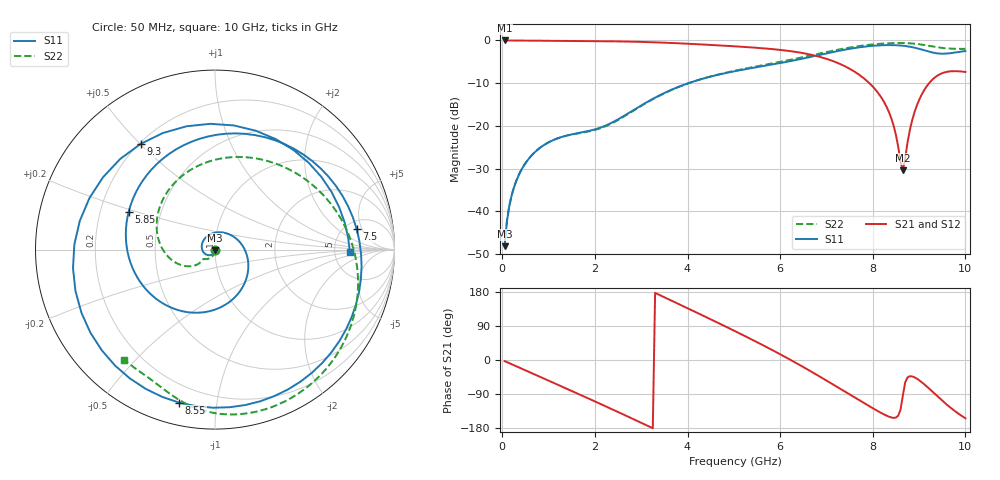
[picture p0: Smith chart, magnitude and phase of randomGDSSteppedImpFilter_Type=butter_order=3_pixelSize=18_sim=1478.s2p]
! freq	dB(S11)	phase(S11)	dB(S12)	phase(S12)
!  dB(S21)	phase(S21)	dB(S22)	phase(S22)
!S-par simulation data
#  GHz  S  DB  R 50
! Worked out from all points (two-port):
!   200 points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, 50 MHz to 10 GHz, reference 50 ohm
!   highest |S21| = -0.01 dB at 50 MHz (marker M1); lowest = -30.3 dB at 8.65 GHz (marker M2)
!   |S21| within 3 dB of the highest: start of sweep to 6.513 GHz
!   lowest |S11| = -48.1 dB at 50 MHz (marker M3), VSWR 1.01, Z = 50 - j0.392 ohm
!   |S11| at or under -10 dB: start of sweep to 4.019 GHz
!   |S22| runs from -48.1 to -0.6 dB; largest |S21 - S12| = 0
!   S11 on the Smith chart (normalised r, x): 50 MHz: 1.00, -0.01; 5.85 GHz: 0.32, +0.19; 7.5 GHz: 6.36, +3.97; 8.55 GHz: 0.11, -0.79; 9.3 GHz: 0.21, +0.50; 10 GHz: 7.01, -0.48
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0.05  -48.13 -87.4  -0.01 -2.8  -0.01 -2.8  -48.12 -85.7
0.2  -36.36 -102.8  -0.02 -11.0  -0.02 -11.0  -36.30 -96.5
0.5  -28.74 -125.6  -0.04 -27.3  -0.04 -27.3  -28.69 -109.3
1.15  -23.08 -176.3  -0.09 -62.6  -0.09 -62.6  -23.09 -131.2
1.75  -21.44 127.2  -0.14 -95.5  -0.14 -95.5  -21.53 -140.6
2.65  -17.51 27.3  -0.26 -145.7  -0.26 -145.7  -17.66 -140.3
3.4  -12.82 -37.9  -0.48 171.4  -0.48 171.4  -12.90 -160.5
4.3  -9.04 -99.5  -0.93 119.1  -0.93 119.1  -9.03 156.9
5.05  -7.14 -147.6  -1.40 74.7  -1.40 74.7  -7.02 116.1
5.85  -5.59 156.2  -2.05 24.9  -2.05 24.9  -5.33 72.1
6.7  -3.76 84.5  -3.42 -32.6  -3.42 -32.6  -3.42 27.1
7.1  -2.81 46.9  -4.67 -61.5  -4.67 -61.5  -2.49 6.0
7.5  -1.96 8.2  -6.62 -90.9  -6.62 -90.9  -1.66 -15.3
7.9  -1.36 -31.4  -9.72 -120.1  -9.72 -120.1  -1.05 -36.5
8.35  -1.09 -79.0  -16.77 -149.6  -16.77 -149.6  -0.66 -60.0
8.55  -1.15 -103.1  -24.92 -146.8  -24.92 -146.8  -0.61 -70.3
8.65  -1.24 -116.4  -30.33 -93.2  -30.33 -93.2  -0.61 -75.5
9  -1.96 -172.6  -13.94 -53.2  -13.94 -53.2  -0.89 -93.0
9.3  -2.85 125.2  -9.04 -84.9  -9.04 -84.9  -1.42 -105.9
9.55  -3.10 71.1  -7.48 -112.7  -7.48 -112.7  -1.81 -114.5
9.75  -2.88 34.3  -7.18 -132.6  -7.18 -132.6  -1.95 -120.9
10  -2.48 -1.1  -7.37 -153.7  -7.37 -153.7  -1.98 -129.7
